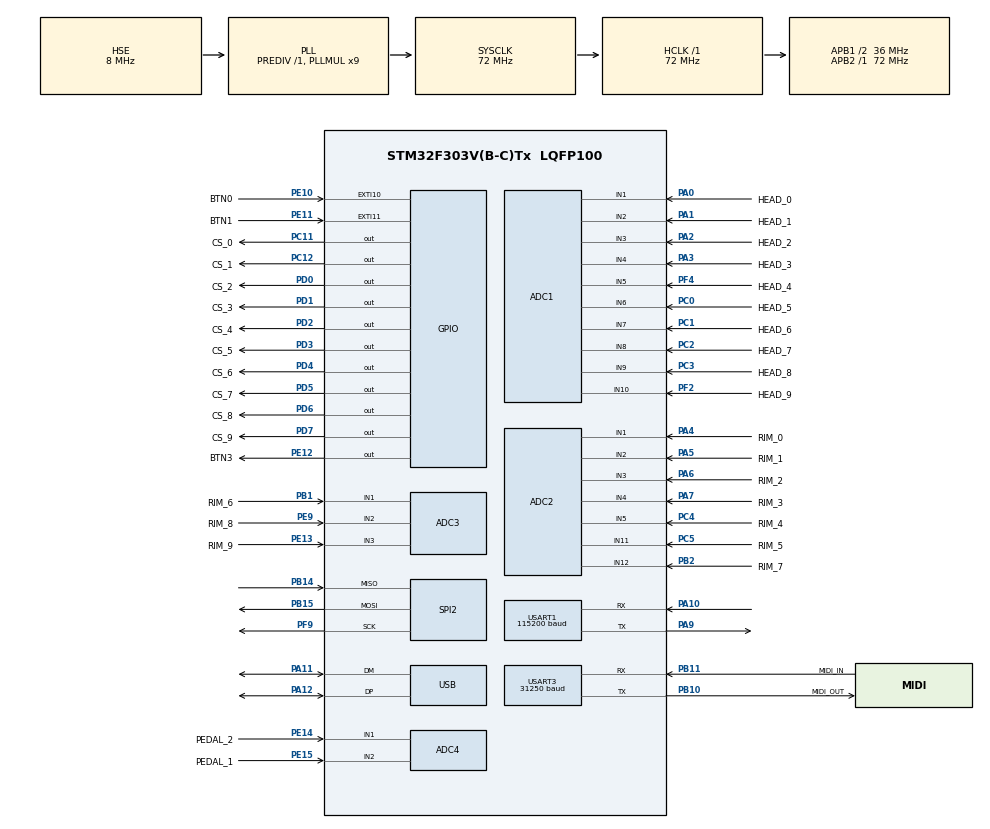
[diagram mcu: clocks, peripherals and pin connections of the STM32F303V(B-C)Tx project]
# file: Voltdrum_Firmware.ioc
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ADC1.Channel=ADC_CHANNEL_9
ADC1.Channel-0\#ChannelRegularConversion=ADC_CHANNEL_1
ADC1.Channel-13\#ChannelRegularConversion=ADC_CHANNEL_2
ADC1.Channel-14\#ChannelRegularConversion=ADC_CHANNEL_3
ADC1.Channel-15\#ChannelRegularConversion=ADC_CHANNEL_4
ADC1.Channel-16\#ChannelRegularConversion=ADC_CHANNEL_5
ADC1.Channel-17\#ChannelRegularConversion=ADC_CHANNEL_6
ADC1.Channel-18\#ChannelRegularConversion=ADC_CHANNEL_7
ADC1.Channel-19\#ChannelRegularConversion=ADC_CHANNEL_8
ADC1.Channel-20\#ChannelRegularConversion=ADC_CHANNEL_9
ADC1.Channel-21\#ChannelRegularConversion=ADC_CHANNEL_10
ADC1.NbrOfConversion=10
ADC1.Rank-13\#ChannelRegularConversion=2
ADC1.Rank-14\#ChannelRegularConversion=3
ADC1.Rank-15\#ChannelRegularConversion=4
ADC1.Rank-16\#ChannelRegularConversion=5
ADC1.Rank-17\#ChannelRegularConversion=6
ADC1.Rank-18\#ChannelRegularConversion=7
ADC1.Rank-19\#ChannelRegularConversion=8
ADC1.Rank-20\#ChannelRegularConversion=9
ADC1.Rank-21\#ChannelRegularConversion=10
ADC1.master=1
ADC2.Channel=ADC_CHANNEL_11
ADC2.Channel-0\#ChannelRegularConversion=ADC_CHANNEL_1
ADC2.Channel-1\#ChannelRegularConversion=ADC_CHANNEL_2
ADC2.Channel-2\#ChannelRegularConversion=ADC_CHANNEL_3
ADC2.Channel-3\#ChannelRegularConversion=ADC_CHANNEL_4
ADC2.Channel-4\#ChannelRegularConversion=ADC_CHANNEL_5
ADC2.Channel-5\#ChannelRegularConversion=ADC_CHANNEL_12
ADC2.Channel-6\#ChannelRegularConversion=ADC_CHANNEL_11
ADC2.NbrOfConversion=7
ADC2.Offset-0\#ChannelRegularConversion=0
ADC2.Offset-1\#ChannelRegularConversion=0
ADC2.Offset-2\#ChannelRegularConversion=0
ADC2.Offset-3\#ChannelRegularConversion=0
ADC2.Offset-4\#ChannelRegularConversion=0
ADC2.Offset-5\#ChannelRegularConversion=0
ADC2.Offset-6\#ChannelRegularConversion=0
ADC2.OffsetNumber-0\#ChannelRegularConversion=ADC_OFFSET_NONE
ADC2.OffsetNumber-1\#ChannelRegularConversion=ADC_OFFSET_NONE
ADC2.OffsetNumber-2\#ChannelRegularConversion=ADC_OFFSET_NONE
ADC2.OffsetNumber-3\#ChannelRegularConversion=ADC_OFFSET_NONE
ADC2.OffsetNumber-4\#ChannelRegularConversion=ADC_OFFSET_NONE
ADC2.OffsetNumber-5\#ChannelRegularConversion=ADC_OFFSET_NONE
ADC2.OffsetNumber-6\#ChannelRegularConversion=ADC_OFFSET_NONE
ADC2.Rank-0\#ChannelRegularConversion=1
ADC2.Rank-1\#ChannelRegularConversion=2
ADC2.Rank-2\#ChannelRegularConversion=3
ADC2.Rank-3\#ChannelRegularConversion=4
ADC2.Rank-4\#ChannelRegularConversion=5
ADC2.Rank-5\#ChannelRegularConversion=6
ADC2.Rank-6\#ChannelRegularConversion=7
ADC2.SamplingTime-0\#ChannelRegularConversion=ADC_SAMPLETIME_1CYCLE_5
ADC2.SamplingTime-1\#ChannelRegularConversion=ADC_SAMPLETIME_1CYCLE_5
ADC2.SamplingTime-2\#ChannelRegularConversion=ADC_SAMPLETIME_1CYCLE_5
ADC2.SamplingTime-3\#ChannelRegularConversion=ADC_SAMPLETIME_1CYCLE_5
ADC2.SamplingTime-4\#ChannelRegularConversion=ADC_SAMPLETIME_1CYCLE_5
ADC2.SamplingTime-5\#ChannelRegularConversion=ADC_SAMPLETIME_1CYCLE_5
ADC2.SamplingTime-6\#ChannelRegularConversion=ADC_SAMPLETIME_1CYCLE_5
ADC3.Channel=ADC_CHANNEL_2
ADC3.Channel-0\#ChannelRegularConversion=ADC_CHANNEL_1
ADC3.Channel-1\#ChannelRegularConversion=ADC_CHANNEL_2
ADC3.Channel-2\#ChannelRegularConversion=ADC_CHANNEL_3
ADC3.NbrOfConversion=3
ADC3.Offset-0\#ChannelRegularConversion=0
ADC3.Offset-1\#ChannelRegularConversion=0
ADC3.Offset-2\#ChannelRegularConversion=0
ADC3.OffsetNumber-0\#ChannelRegularConversion=ADC_OFFSET_NONE
ADC3.OffsetNumber-1\#ChannelRegularConversion=ADC_OFFSET_NONE
ADC3.OffsetNumber-2\#ChannelRegularConversion=ADC_OFFSET_NONE
ADC3.Rank-0\#ChannelRegularConversion=1
ADC3.Rank-1\#ChannelRegularConversion=2
ADC3.Rank-2\#ChannelRegularConversion=3
ADC3.SamplingTime-0\#ChannelRegularConversion=ADC_SAMPLETIME_1CYCLE_5
ADC3.SamplingTime-1\#ChannelRegularConversion=ADC_SAMPLETIME_1CYCLE_5
ADC3.SamplingTime-2\#ChannelRegularConversion=ADC_SAMPLETIME_1CYCLE_5
ADC3.master=1
ADC4.Channel=ADC_CHANNEL_1
ADC4.Channel-0\#ChannelRegularConversion=ADC_CHANNEL_1
ADC4.Channel-1\#ChannelRegularConversion=ADC_CHANNEL_2
ADC4.NbrOfConversion=2
ADC4.Offset-0\#ChannelRegularConversion=0
ADC4.Offset-1\#ChannelRegularConversion=0
ADC4.OffsetNumber-0\#ChannelRegularConversion=ADC_OFFSET_NONE
ADC4.OffsetNumber-1\#ChannelRegularConversion=ADC_OFFSET_NONE
ADC4.Rank-0\#ChannelRegularConversion=1
ADC4.Rank-1\#ChannelRegularConversion=2
ADC4.SamplingTime-0\#ChannelRegularConversion=ADC_SAMPLETIME_1CYCLE_5
ADC4.SamplingTime-1\#ChannelRegularConversion=ADC_SAMPLETIME_1CYCLE_5
Dma.ADC1.3.Direction=DMA_PERIPH_TO_MEMORY
Dma.ADC1.3.Instance=DMA1_Channel1
Dma.ADC1.3.MemDataAlignment=DMA_MDATAALIGN_WORD
Dma.ADC1.3.MemInc=DMA_MINC_ENABLE
Dma.ADC1.3.Mode=DMA_CIRCULAR
Dma.ADC1.3.PeriphDataAlignment=DMA_PDATAALIGN_WORD
Dma.ADC1.3.PeriphInc=DMA_PINC_DISABLE
Dma.ADC1.3.Priority=DMA_PRIORITY_HIGH
Dma.ADC2.0.Direction=DMA_PERIPH_TO_MEMORY
Dma.ADC2.0.Instance=DMA2_Channel1
Dma.ADC2.0.MemDataAlignment=DMA_MDATAALIGN_WORD
Dma.ADC2.0.MemInc=DMA_MINC_ENABLE
Dma.ADC2.0.Mode=DMA_CIRCULAR
Dma.ADC2.0.PeriphDataAlignment=DMA_PDATAALIGN_WORD
Dma.ADC2.0.PeriphInc=DMA_PINC_DISABLE
Dma.ADC2.0.Priority=DMA_PRIORITY_HIGH
Dma.ADC3.1.Direction=DMA_PERIPH_TO_MEMORY
Dma.ADC3.1.Instance=DMA2_Channel5
Dma.ADC3.1.MemDataAlignment=DMA_MDATAALIGN_WORD
Dma.ADC3.1.MemInc=DMA_MINC_ENABLE
Dma.ADC3.1.Mode=DMA_CIRCULAR
Dma.ADC3.1.PeriphDataAlignment=DMA_PDATAALIGN_WORD
Dma.ADC3.1.PeriphInc=DMA_PINC_DISABLE
Dma.ADC3.1.Priority=DMA_PRIORITY_HIGH
Dma.ADC4.2.Direction=DMA_PERIPH_TO_MEMORY
Dma.ADC4.2.Instance=DMA2_Channel2
Dma.ADC4.2.MemDataAlignment=DMA_MDATAALIGN_WORD
Dma.ADC4.2.MemInc=DMA_MINC_ENABLE
Dma.ADC4.2.Mode=DMA_CIRCULAR
Dma.ADC4.2.PeriphDataAlignment=DMA_PDATAALIGN_WORD
Dma.ADC4.2.PeriphInc=DMA_PINC_DISABLE
Dma.ADC4.2.Priority=DMA_PRIORITY_MEDIUM
Dma.Request0=ADC2
Dma.Request1=ADC3
Dma.Request2=ADC4
Dma.Request3=ADC1
Mcu.Family=STM32F3
Mcu.Name=STM32F303V(B-C)Tx
Mcu.Package=LQFP100
NVIC.EXTI15_10_IRQn=true\:4\:0\:true
NVIC.PriorityGroup=NVIC_PRIORITYGROUP_4
NVIC.TIM1_UP_TIM16_IRQn=true\:1\:0\:true
NVIC.TIM2_IRQn=true\:2\:0\:true
NVIC.TIM3_IRQn=true\:4\:0\:true
NVIC.USART1_IRQn=true\:4\:0\:true
NVIC.USART3_IRQn=true\:3\:0\:true
NVIC.USB_LP_CAN_RX0_IRQn=true\:4\:0\:true
PA0.GPIO_Label=HEAD_0
PA0.GPIO_Mode=GPIO_MODE_ANALOG
PA0.GPIO_PuPd=GPIO_NOPULL
PA0.Mode=IN1-Single-Ended
PA0.Signal=ADC1_IN1
PA1.GPIO_Label=HEAD_1
PA1.GPIO_Mode=GPIO_MODE_ANALOG
PA1.GPIO_PuPd=GPIO_NOPULL
PA1.Mode=IN2-Single-Ended
PA1.Signal=ADC1_IN2
PA10.Mode=Asynchronous
PA10.Signal=USART1_RX
PA11.Mode=Device
PA11.Signal=USB_DM
PA12.Mode=Device
PA12.Signal=USB_DP
PA13.Mode=JTAG(5-pin)
PA13.Signal=SYS_JTMS-SWDIO
PA14.Mode=JTAG(5-pin)
PA14.Signal=SYS_JTCK-SWCLK
PA15.Mode=JTAG(5-pin)
PA15.Signal=SYS_JTDI
PA2.GPIO_Label=HEAD_2
PA2.GPIO_Mode=GPIO_MODE_ANALOG
PA2.GPIO_PuPd=GPIO_NOPULL
PA2.Mode=IN3-Single-Ended
PA2.Signal=ADC1_IN3
PA3.GPIO_Label=HEAD_3
PA3.GPIO_Mode=GPIO_MODE_ANALOG
PA3.GPIO_PuPd=GPIO_NOPULL
PA3.Mode=IN4-Single-Ended
PA3.Signal=ADC1_IN4
PA4.GPIO_Label=RIM_0
PA4.GPIO_Mode=GPIO_MODE_ANALOG
PA4.GPIO_PuPd=GPIO_NOPULL
PA4.Mode=IN1-Single-Ended
PA4.Signal=ADC2_IN1
PA5.GPIO_Label=RIM_1
PA5.GPIO_Mode=GPIO_MODE_ANALOG
PA5.GPIO_PuPd=GPIO_NOPULL
PA5.Mode=IN2-Single-Ended
PA5.Signal=ADC2_IN2
PA6.GPIO_Label=RIM_2
PA6.GPIO_Mode=GPIO_MODE_ANALOG
PA6.GPIO_PuPd=GPIO_NOPULL
PA6.Mode=IN3-Single-Ended
PA6.Signal=ADC2_IN3
PA7.GPIO_Label=RIM_3
PA7.GPIO_Mode=GPIO_MODE_ANALOG
PA7.GPIO_PuPd=GPIO_NOPULL
PA7.Mode=IN4-Single-Ended
PA7.Signal=ADC2_IN4
PA9.Mode=Asynchronous
PA9.Signal=USART1_TX
PB1.GPIO_Label=RIM_6
PB1.GPIO_Mode=GPIO_MODE_ANALOG
PB1.GPIO_PuPd=GPIO_NOPULL
PB1.Mode=IN1-Single-Ended
PB1.Signal=ADC3_IN1
PB10.GPIO_Label=MIDI_OUT
PB10.GPIO_Mode=GPIO_MODE_AF_PP
PB10.GPIO_PuPd=GPIO_PULLUP
PB10.GPIO_Speed=GPIO_SPEED_LOW
PB10.Mode=Asynchronous
PB10.Signal=USART3_TX
PB11.GPIO_Label=MIDI_IN
PB11.GPIO_Mode=GPIO_MODE_AF_PP
PB11.GPIO_PuPd=GPIO_PULLUP
PB11.GPIO_Speed=GPIO_SPEED_LOW
PB11.Mode=Asynchronous
PB11.Signal=USART3_RX
PB14.Mode=Full_Duplex_Master
PB14.Signal=SPI2_MISO
PB15.Mode=Full_Duplex_Master
PB15.Signal=SPI2_MOSI
PB2.GPIO_Label=RIM_7
PB2.GPIO_Mode=GPIO_MODE_ANALOG
PB2.GPIO_PuPd=GPIO_NOPULL
PB2.Mode=IN12-Single-Ended
PB2.Signal=ADC2_IN12
PB3.Mode=JTAG(5-pin)
PB3.Signal=SYS_JTDO-TRACESWO
PB4.Mode=JTAG(5-pin)
PB4.Signal=SYS_NJTRST
PC0.GPIO_Label=HEAD_5
PC0.GPIO_Mode=GPIO_MODE_ANALOG
PC0.GPIO_PuPd=GPIO_NOPULL
PC0.Signal=ADCx_IN6
PC1.GPIO_Label=HEAD_6
PC1.GPIO_Mode=GPIO_MODE_ANALOG
PC1.GPIO_PuPd=GPIO_NOPULL
PC1.Signal=ADCx_IN7
PC11.GPIO_Label=CS_0
PC11.GPIO_ModeDefaultOutputPP=GPIO_MODE_OUTPUT_PP
PC11.GPIO_PuPd=GPIO_NOPULL
PC11.GPIO_Speed=GPIO_SPEED_LOW
PC11.Signal=GPIO_Output
PC12.GPIO_Label=CS_1
PC12.GPIO_ModeDefaultOutputPP=GPIO_MODE_OUTPUT_PP
PC12.GPIO_PuPd=GPIO_NOPULL
PC12.GPIO_Speed=GPIO_SPEED_LOW
PC12.Signal=GPIO_Output
PC14-OSC32_IN.Mode=LSE-External-Oscillator
PC14-OSC32_IN.Signal=RCC_OSC32_IN
PC15-OSC32_OUT.Mode=LSE-External-Oscillator
PC15-OSC32_OUT.Signal=RCC_OSC32_OUT
PC2.GPIO_Label=HEAD_7
PC2.GPIO_Mode=GPIO_MODE_ANALOG
PC2.GPIO_PuPd=GPIO_NOPULL
PC2.Signal=ADCx_IN8
PC3.GPIO_Label=HEAD_8
PC3.GPIO_Mode=GPIO_MODE_ANALOG
PC3.GPIO_PuPd=GPIO_NOPULL
PC3.Signal=ADCx_IN9
PC4.GPIO_Label=RIM_4
PC4.GPIO_Mode=GPIO_MODE_ANALOG
PC4.GPIO_PuPd=GPIO_NOPULL
PC4.Mode=IN5-Single-Ended
PC4.Signal=ADC2_IN5
PC5.GPIO_Label=RIM_5
PC5.GPIO_Mode=GPIO_MODE_ANALOG
PC5.GPIO_PuPd=GPIO_NOPULL
PC5.Mode=IN11-Single-Ended
PC5.Signal=ADC2_IN11
PD0.GPIO_Label=CS_2
PD0.GPIO_ModeDefaultOutputPP=GPIO_MODE_OUTPUT_PP
PD0.GPIO_PuPd=GPIO_NOPULL
PD0.GPIO_Speed=GPIO_SPEED_LOW
PD0.Signal=GPIO_Output
PD1.GPIO_Label=CS_3
PD1.GPIO_ModeDefaultOutputPP=GPIO_MODE_OUTPUT_PP
PD1.GPIO_PuPd=GPIO_NOPULL
PD1.GPIO_Speed=GPIO_SPEED_LOW
PD1.Signal=GPIO_Output
PD2.GPIO_Label=CS_4
PD2.GPIO_ModeDefaultOutputPP=GPIO_MODE_OUTPUT_PP
PD2.GPIO_PuPd=GPIO_NOPULL
PD2.GPIO_Speed=GPIO_SPEED_LOW
PD2.Signal=GPIO_Output
PD3.GPIO_Label=CS_5
PD3.GPIO_ModeDefaultOutputPP=GPIO_MODE_OUTPUT_PP
PD3.GPIO_PuPd=GPIO_NOPULL
PD3.GPIO_Speed=GPIO_SPEED_LOW
PD3.Signal=GPIO_Output
PD4.GPIO_Label=CS_6
PD4.GPIO_ModeDefaultOutputPP=GPIO_MODE_OUTPUT_PP
PD4.GPIO_PuPd=GPIO_NOPULL
PD4.GPIO_Speed=GPIO_SPEED_LOW
PD4.Signal=GPIO_Output
PD5.GPIO_Label=CS_7
PD5.GPIO_ModeDefaultOutputPP=GPIO_MODE_OUTPUT_PP
PD5.GPIO_PuPd=GPIO_NOPULL
PD5.GPIO_Speed=GPIO_SPEED_LOW
PD5.Signal=GPIO_Output
PD6.GPIO_Label=CS_8
PD6.GPIO_ModeDefaultOutputPP=GPIO_MODE_OUTPUT_PP
PD6.GPIO_PuPd=GPIO_NOPULL
PD6.GPIO_Speed=GPIO_SPEED_LOW
PD6.Signal=GPIO_Output
PD7.GPIO_Label=CS_9
PD7.GPIO_ModeDefaultOutputPP=GPIO_MODE_OUTPUT_PP
PD7.GPIO_PuPd=GPIO_NOPULL
PD7.GPIO_Speed=GPIO_SPEED_LOW
PD7.Signal=GPIO_Output
PE10.GPIO_Label=BTN0
PE10.GPIO_ModeDefaultEXTI=GPIO_MODE_IT_RISING
PE10.GPIO_PuPd=GPIO_NOPULL
PE10.Signal=GPXTI10
PE11.GPIO_Label=BTN1
PE11.GPIO_ModeDefaultEXTI=GPIO_MODE_IT_RISING
PE11.GPIO_PuPd=GPIO_NOPULL
PE11.Signal=GPXTI11
PE12.GPIO_Label=BTN3
PE12.Signal=GPIO_Output
PE13.GPIO_Label=RIM_9
PE13.GPIO_Mode=GPIO_MODE_ANALOG
PE13.GPIO_PuPd=GPIO_NOPULL
PE13.Mode=IN3-Single-Ended
PE13.Signal=ADC3_IN3
PE14.GPIO_Label=PEDAL_2
PE14.GPIO_Mode=GPIO_MODE_ANALOG
PE14.GPIO_PuPd=GPIO_NOPULL
PE14.Mode=IN1-Single-Ended
PE14.Signal=ADC4_IN1
PE15.GPIO_Label=PEDAL_1
PE15.GPIO_Mode=GPIO_MODE_ANALOG
PE15.GPIO_PuPd=GPIO_NOPULL
PE15.Mode=IN2-Single-Ended
PE15.Signal=ADC4_IN2
PE9.GPIO_Label=RIM_8
PE9.GPIO_Mode=GPIO_MODE_ANALOG
PE9.GPIO_PuPd=GPIO_NOPULL
PE9.Mode=IN2-Single-Ended
PE9.Signal=ADC3_IN2
PF0-OSC_IN.Mode=HSE-External-Oscillator
PF0-OSC_IN.Signal=RCC_OSC_IN
PF1-OSC_OUT.Mode=HSE-External-Oscillator
PF1-OSC_OUT.Signal=RCC_OSC_OUT
PF2.GPIO_Label=HEAD_9
PF2.GPIO_Mode=GPIO_MODE_ANALOG
PF2.GPIO_PuPd=GPIO_NOPULL
PF2.Signal=ADCx_IN10
PF4.GPIO_Label=HEAD_4
PF4.GPIO_Mode=GPIO_MODE_ANALOG
PF4.GPIO_PuPd=GPIO_NOPULL
PF4.Mode=IN5-Single-Ended
PF4.Signal=ADC1_IN5
PF9.Mode=Full_Duplex_Master
PF9.Signal=SPI2_SCK
ProjectManager.TargetToolchain=TrueSTUDIO 4.3.1
RCC.AHBFreq_Value=72000000
RCC.APB1CLKDivider=RCC_HCLK_DIV2
RCC.APB1Freq_Value=36000000
RCC.APB1TimFreq_Value=72000000
RCC.APB2Freq_Value=72000000
RCC.APB2TimFreq_Value=72000000
RCC.CortexFreq_Value=9000000
RCC.EnbaleCSS=true
RCC.HCLKFreq_Value=72000000
RCC.HSE_VALUE=8000000
RCC.HSIState=RCC_HSI_ON
RCC.HSI_VALUE=8000000
RCC.PLLMUL=RCC_PLL_MUL9
RCC.PRESCALERUSB=RCC_USBPLLCLK_DIV1_5
RCC.SYSCLKFreq_VALUE=72000000
RCC.SYSCLKSourceVirtual=RCC_SYSCLKSOURCE_PLLCLK
RCC.USBFreq_Value=48000000
SH.ADCx_IN10.0=ADC1_IN10,IN10-Single-Ended
SH.ADCx_IN6.0=ADC1_IN6,IN6-Single-Ended
SH.ADCx_IN7.0=ADC1_IN7,IN7-Single-Ended
SH.ADCx_IN8.0=ADC1_IN8,IN8-Single-Ended
SH.ADCx_IN9.0=ADC1_IN9,IN9-Single-Ended
SPI2.BaudRatePrescaler-Full_Duplex_Master=SPI_BAUDRATEPRESCALER_32
SPI2.CalculateBaudRate-Full_Duplex_Master=1.125 MBits/s
SPI2.DataSize-Full_Duplex_Master=SPI_DATASIZE_16BIT
SPI2.Mode-Full_Duplex_Master=SPI_MODE_MASTER
TIM1.Period=1
TIM1.Prescaler=3600
TIM2.Period=5
TIM2.Prescaler=14400
TIM3.Period=50
TIM3.Prescaler=14400
USART1.BaudRate=115200
USART3.BaudRate=31250
USART3.DataInvertParam-Asynchronous=UART_ADVFEATURE_DATAINV_DISABLE
USART3.RxPinLevelInvertParam-Asynchronous=UART_ADVFEATURE_RXINV_DISABLE
USART3.TxPinLevelInvertParam-Asynchronous=UART_ADVFEATURE_TXINV_DISABLE
USB_DEVICE.CLASS_NAME-AUDIO_FS=AUDIO
USB_DEVICE.USBD_HandleTypeDef-AUDIO_FS=hUsbDeviceFS
USB_DEVICE.VirtualMode-AUDIO_FS=Audio
VP_TIM1_VS_ClockSourceINT.Mode=Internal
VP_TIM2_VS_ClockSourceINT.Mode=Internal
VP_TIM3_VS_ClockSourceINT.Mode=Internal
VP_USB_DEVICE_VS_USB_DEVICE_AUDIO_FS.Mode=AUDIO_FS

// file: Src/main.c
/**
  ******************************************************************************
  * File Name          : main.c
  * Date               : 26/05/2015 10:05:21
  * Description        : Main program body
  ******************************************************************************
  *
  * COPYRIGHT(c) 2015 STMicroelectronics
  *
  * Redistribution and use in source and binary forms, with or without modification,
  * are permitted provided that the following conditions are met:
  *   1. Redistributions of source code must retain the above copyright notice,
  *      this list of conditions and the following disclaimer.
  *   2. Redistributions in binary form must reproduce the above copyright notice,
  *      this list of conditions and the following disclaimer in the documentation
  *      and/or other materials provided with the distribution.
  *   3. Neither the name of STMicroelectronics nor the names of its contributors
  *      may be used to endorse or promote products derived from this software
  *      without specific prior written permission.
  *
  * THIS SOFTWARE IS PROVIDED BY THE COPYRIGHT HOLDERS AND CONTRIBUTORS "AS IS"
  * AND ANY EXPRESS OR IMPLIED WARRANTIES, INCLUDING, BUT NOT LIMITED TO, THE
  * IMPLIED WARRANTIES OF MERCHANTABILITY AND FITNESS FOR A PARTICULAR PURPOSE ARE
  * DISCLAIMED. IN NO EVENT SHALL THE COPYRIGHT HOLDER OR CONTRIBUTORS BE LIABLE
  * FOR ANY DIRECT, INDIRECT, INCIDENTAL, SPECIAL, EXEMPLARY, OR CONSEQUENTIAL
  * DAMAGES (INCLUDING, BUT NOT LIMITED TO, PROCUREMENT OF SUBSTITUTE GOODS OR
  * SERVICES; LOSS OF USE, DATA, OR PROFITS; OR BUSINESS INTERRUPTION) HOWEVER
  * CAUSED AND ON ANY THEORY OF LIABILITY, WHETHER IN CONTRACT, STRICT LIABILITY,
  * OR TORT (INCLUDING NEGLIGENCE OR OTHERWISE) ARISING IN ANY WAY OUT OF THE USE
  * OF THIS SOFTWARE, EVEN IF ADVISED OF THE POSSIBILITY OF SUCH DAMAGE.
  *
  ******************************************************************************
  */

#include "stm32f3xx_hal.h"
#include "adc.h"
#include "dma.h"
#include "spi.h"
#include "tim.h"
#include "usart.h"
#include "usb_device.h"
#include "gpio.h"

/* USER CODE BEGIN Includes */
#include "uartmessagebuffer.h"
#include "midi.h"
#include "voltdrum_interface.h"
#include "mcp4251.h"
#include "triggerchannel.h"
#include "hihatchannel.h"
#include "performance.h"
/* USER CODE END Includes */

/* USER CODE BEGIN PV */

#define headChannelCount 10
#define rimChannelCount 10
#define hihatChannelCount 2

volatile int irqflag_timer1 = 0;
volatile int irqflag_timer2 = 0;
volatile int irqflag_timer3 = 0;
volatile int irqflag_btns[3] = {0,0,0};

volatile uint32_t adc1Samples[10*4];
volatile uint32_t adc2Samples[7*4];
volatile uint32_t adc3Samples[3*4];
volatile uint32_t adc4Samples[2];

TriggerChannel triggerChannelsHead[headChannelCount];
TriggerChannel triggerChannelsRim[rimChannelCount];
HiHatChannel hiHatChannels[hihatChannelCount];

/* USER CODE END PV */

void SystemClock_Config(void);

/* USER CODE BEGIN 0 */

void initHeadChannels(){

	int i;
	for(i = 0; i < headChannelCount; i++){
		triggerChannelsHead[i].potiWiperId = MCP4261_WIPER0;
		triggerchannel_init(&triggerChannelsHead[i], &(adc1Samples[i]), &(adc1Samples[i+10]), &(adc1Samples[i+20]), &(adc1Samples[i+30]));

	}

	//Base drum
	triggerChannelsHead[0].potiCsPort = GPIOC;
	triggerChannelsHead[0].potiCsPin = GPIO_PIN_11;
	triggerChannelsHead[0].midinote = 36;
	triggerChannelsHead[0].voltdrumChannel = 0;
	triggerchannel_setWiper(&triggerChannelsHead[0], 20);
	triggerChannelsHead[0].threshhold_static = 130;
	triggerChannelsHead[0].threshhold_dynamic = 0.9;
	triggerChannelsHead[0].samples_to_take = 5;
	triggerChannelsHead[0].time_offset = 150;

	//Snare
	triggerChannelsHead[1].potiCsPort = GPIOC;
	triggerChannelsHead[1].potiCsPin = GPIO_PIN_12;
	triggerChannelsHead[1].midinote = 38;
	triggerChannelsHead[1].voltdrumChannel = 2;
	triggerchannel_setWiper(&triggerChannelsHead[1], 20);
	triggerChannelsHead[1].threshhold_static = 50;
	triggerChannelsHead[1].threshhold_dynamic = 0.9;
	triggerChannelsHead[1].samples_to_take = 5;
	triggerChannelsHead[1].time_offset = 100;

	//tom 1 - UNTEN
	triggerChannelsHead[2].potiCsPort = GPIOD;
	triggerChannelsHead[2].potiCsPin = GPIO_PIN_0;
	triggerChannelsHead[2].midinote = 43;
	triggerChannelsHead[2].voltdrumChannel = 4;
	triggerchannel_setWiper(&triggerChannelsHead[2], 3);
	triggerChannelsHead[2].threshhold_static = 80;
	triggerChannelsHead[2].threshhold_dynamic = 0.8;
	triggerChannelsHead[2].samples_to_take = 5;
	triggerChannelsHead[2].time_offset = 100;

	//tom2 - OBEN
	triggerChannelsHead[3].potiCsPort = GPIOD;
	triggerChannelsHead[3].potiCsPin = GPIO_PIN_1;
	triggerChannelsHead[3].midinote = 47;
	triggerChannelsHead[3].voltdrumChannel = 6;
	triggerchannel_setWiper(&triggerChannelsHead[3], 3);
	triggerChannelsHead[3].threshhold_static = 120;
	triggerChannelsHead[3].threshhold_dynamic = 0.8;
	triggerChannelsHead[3].samples_to_take = 5;
	triggerChannelsHead[3].time_offset = 100;

	//hihat
	triggerChannelsHead[4].potiCsPort = GPIOD;
	triggerChannelsHead[4].potiCsPin = GPIO_PIN_2;
	triggerChannelsHead[4].midinote = 46;
	triggerChannelsHead[4].voltdrumChannel = 8;
	triggerchannel_setWiper(&triggerChannelsHead[4], 7);
	triggerChannelsHead[4].threshhold_static = 100;
	triggerChannelsHead[4].threshhold_dynamic = 1;
	triggerChannelsHead[4].samples_to_take = 5;
	triggerChannelsHead[4].time_offset = 100;

	triggerChannelsHead[5].potiCsPort = GPIOD;
	triggerChannelsHead[5].potiCsPin = GPIO_PIN_3;
	triggerChannelsHead[5].midinote = 38;
	triggerChannelsHead[5].voltdrumChannel = 10;

	triggerChannelsHead[6].potiCsPort = GPIOD;
	triggerChannelsHead[6].potiCsPin = GPIO_PIN_4;
	triggerChannelsHead[6].midinote = 38;
	triggerChannelsHead[6].voltdrumChannel = 12;

	triggerChannelsHead[7].potiCsPort = GPIOD;
	triggerChannelsHead[7].potiCsPin = GPIO_PIN_5;
	triggerChannelsHead[7].midinote = 38;
	triggerChannelsHead[7].voltdrumChannel = 14;

	triggerChannelsHead[8].potiCsPort = GPIOD;
	triggerChannelsHead[8].potiCsPin = GPIO_PIN_6;
	triggerChannelsHead[8].midinote = 38;
	triggerChannelsHead[8].voltdrumChannel = 16;

	triggerChannelsHead[9].potiCsPort = GPIOD;
	triggerChannelsHead[9].potiCsPin = GPIO_PIN_7;
	triggerChannelsHead[9].midinote = 38;
	triggerChannelsHead[9].voltdrumChannel = 18;

	for(i = 0; i < headChannelCount; i++){
		HAL_GPIO_WritePin(triggerChannelsHead[i].potiCsPort,triggerChannelsHead[i].potiCsPin,GPIO_PIN_SET);
	}

	HAL_Delay(10);

	//set initial wiper positions
	triggerchannel_setWiper(&triggerChannelsHead[5], 30);
	triggerchannel_setWiper(&triggerChannelsHead[6], 30);
	triggerchannel_setWiper(&triggerChannelsHead[7], 30);
	triggerchannel_setWiper(&triggerChannelsHead[8], 30);
	triggerchannel_setWiper(&triggerChannelsHead[9], 30);

}

void initRimChannels(){

	int i;
	for(i = 0; i < headChannelCount; i++){
		triggerChannelsRim[i].potiWiperId = MCP4261_WIPER1;
		if(i < 7) triggerchannel_init(&triggerChannelsRim[i], &(adc2Samples[i]),&(adc2Samples[i+7]),&(adc2Samples[i+14]),&(adc2Samples[i+21]));
		else triggerchannel_init(&triggerChannelsRim[i], &(adc3Samples[i-7]),&(adc3Samples[i-7+3]),&(adc3Samples[i-7+6]),&(adc3Samples[i-7+9]));
	}

	triggerChannelsRim[0].potiCsPort = GPIOC;
	triggerChannelsRim[0].potiCsPin = GPIO_PIN_11;
	triggerChannelsRim[0].midinote = 36;
	triggerChannelsRim[0].voltdrumChannel = 1;

	triggerChannelsRim[1].potiCsPort = GPIOC;
	triggerChannelsRim[1].potiCsPin = GPIO_PIN_12;
	triggerChannelsRim[1].midinote = 38;
	triggerChannelsRim[1].voltdrumChannel = 3;

	triggerChannelsRim[2].potiCsPort = GPIOD;
	triggerChannelsRim[2].potiCsPin = GPIO_PIN_0;
	triggerChannelsRim[2].midinote = 38;
	triggerChannelsRim[2].voltdrumChannel = 5;

	triggerChannelsRim[3].potiCsPort = GPIOD;
	triggerChannelsRim[3].potiCsPin = GPIO_PIN_1;
	triggerChannelsRim[3].midinote = 38;
	triggerChannelsRim[3].voltdrumChannel = 7;

	triggerChannelsRim[4].potiCsPort = GPIOD;
	triggerChannelsRim[4].potiCsPin = GPIO_PIN_2;
	triggerChannelsRim[4].midinote = 38;
	triggerChannelsRim[4].voltdrumChannel = 9;

	triggerChannelsRim[5].potiCsPort = GPIOD;
	triggerChannelsRim[5].potiCsPin = GPIO_PIN_3;
	triggerChannelsRim[5].midinote = 38;
	triggerChannelsRim[5].voltdrumChannel = 11;

	triggerChannelsRim[6].potiCsPort = GPIOD;
	triggerChannelsRim[6].potiCsPin = GPIO_PIN_4;
	triggerChannelsRim[6].midinote = 38;
	triggerChannelsRim[6].voltdrumChannel = 13;

	triggerChannelsRim[7].potiCsPort = GPIOD;
	triggerChannelsRim[7].potiCsPin = GPIO_PIN_5;
	triggerChannelsRim[7].midinote = 38;
	triggerChannelsRim[7].voltdrumChannel = 15;

	triggerChannelsRim[8].potiCsPort = GPIOD;
	triggerChannelsRim[8].potiCsPin = GPIO_PIN_6;
	triggerChannelsRim[8].midinote = 38;
	triggerChannelsRim[8].voltdrumChannel = 17;

	triggerChannelsRim[9].potiCsPort = GPIOD;
	triggerChannelsRim[9].potiCsPin = GPIO_PIN_7;
	triggerChannelsRim[9].midinote = 38;
	triggerChannelsRim[9].voltdrumChannel = 19;

	for(i = 0; i < rimChannelCount; i++){

		HAL_GPIO_WritePin(triggerChannelsRim[i].potiCsPort,triggerChannelsRim[i].potiCsPin,GPIO_PIN_SET);

	}

	HAL_Delay(10);

	triggerchannel_setWiper(&triggerChannelsRim[0], 50);
	triggerchannel_setWiper(&triggerChannelsRim[1], 50);
	triggerchannel_setWiper(&triggerChannelsRim[2], 50);
	triggerchannel_setWiper(&triggerChannelsRim[3], 50);
	triggerchannel_setWiper(&triggerChannelsRim[4], 50);
	triggerchannel_setWiper(&triggerChannelsRim[5], 50);
	triggerchannel_setWiper(&triggerChannelsRim[6], 50);
	triggerchannel_setWiper(&triggerChannelsRim[7], 50);
	triggerchannel_setWiper(&triggerChannelsRim[8], 50);
	triggerchannel_setWiper(&triggerChannelsRim[9], 50);

}

void initHiHatChannels(){

		hihatchannel_init(&hiHatChannels[0], &adc4Samples[0], &triggerChannelsHead[4]);
		hiHatChannels[0].voltdrumChannel = 0;
		hiHatChannels[0].midi_note_open = 46;
		hiHatChannels[0].midi_note_closed = 42;
		hiHatChannels[0].midi_pedal_note = 44;
		hiHatChannels[0].midi_control = 0x04;
		hiHatChannels[0].relatedTriggerpad = &triggerChannelsHead[4];

		hihatchannel_init(&hiHatChannels[1], &adc4Samples[1], &triggerChannelsRim [9]);
		hiHatChannels[1].voltdrumChannel = 1;

}

volatile int btnDebounceIRQTimer[3] = {0,0,0};

void HAL_GPIO_EXTI_Callback (uint16_t GPIO_Pin){
	if(GPIO_Pin == GPIO_PIN_10) btnDebounceIRQTimer[0] = 1;	// Btn 0 clicked
	if(GPIO_Pin == GPIO_PIN_11) btnDebounceIRQTimer[1] = 1;	// Btn 1 clicked
	if(GPIO_Pin == GPIO_PIN_12) btnDebounceIRQTimer[2] = 1;	// Btn 2 clicked
}

void HAL_UART_TxCpltCallback (UART_HandleTypeDef *huart){
	if(midiMessagebuffer != 0 && midiMessagebuffer->uarthandle == huart) uartmessagebuffer_onTxComplete(midiMessagebuffer);
	else if(voltdrumMessagebuffer != 0 && voltdrumMessagebuffer->uarthandle == huart) uartmessagebuffer_onTxComplete(voltdrumMessagebuffer);
}
void HAL_UART_ErrorCallback (UART_HandleTypeDef *huart){
	if(midiMessagebuffer != 0 && midiMessagebuffer->uarthandle == huart) uartmessagebuffer_onTxComplete(midiMessagebuffer);
	else if(voltdrumMessagebuffer != 0 && voltdrumMessagebuffer->uarthandle == huart) uartmessagebuffer_onTxComplete(voltdrumMessagebuffer);
}

/*
 * Triggered every 200us
 *
 * Processing triggerchannel samples taken
 */
void onTimer1Triggered(){
	int i;
	//triggerchannel_process(&triggerChannelsHead[0]);

	for(i = 0; i < headChannelCount; ++i){
		triggerchannel_process(&triggerChannelsHead[i]);
	}

	for(i = 0; i < rimChannelCount; ++i){
		triggerchannel_process(&triggerChannelsRim[i]);
	}

}
/*
 * Triggered every 1ms
 *
 * processing hihat-samples taken
 */
void onTimer2Triggered(){
	int i;

	for(i = 0; i < hihatChannelCount; ++i){
		hihatchannel_process(&hiHatChannels[i]);
	}

}

/*
 * Triggered on btn0 click with debounce delay
 */
void onBtn0Triggered(){
	midi_sendNote(10,36,120);
}

/*
 * Triggered on btn1 click with debounce delay
 */
void onBtn1Triggered(){

		triggerChannelsHead[0].midinote = 38;

}

/*
 * Triggered on btn2 click with debounce delay
 */
void onBtn2Triggered(){

}

/* USER CODE END 0 */

int main(void)
{

  /* MCU Configuration----------------------------------------------------------*/

  /* Reset of all peripherals, Initializes the Flash interface and the Systick. */
  HAL_Init();

  /* Configure the system clock */
  SystemClock_Config();

  /* Initialize all configured peripherals */
  MX_GPIO_Init();
  MX_DMA_Init();
  MX_ADC1_Init();
  MX_ADC2_Init();
  MX_ADC3_Init();
  MX_ADC4_Init();
  MX_SPI2_Init();
  MX_TIM1_Init();
  MX_TIM2_Init();
  MX_TIM3_Init();
  MX_USART1_UART_Init();
  MX_USART3_UART_Init();
  MX_USB_DEVICE_Init();

  /* USER CODE BEGIN 2 */

  //initializes the datastructure and amplifiing of the triggerchannels
  midi_init();
  voltdrum_init();
  initHeadChannels();
  initRimChannels();
  initHiHatChannels();

  HAL_TIM_Base_Start_IT(&htim1);
  HAL_TIM_Base_Start_IT(&htim2);
  HAL_TIM_Base_Start_IT(&htim3);
  /* USER CODE END 2 */

  /* USER CODE BEGIN 3 */
  /* Infinite loop */
  while (1)
  {

	  if(irqflag_timer1){
			irqflag_timer1 = 0;
			onTimer1Triggered();
	  } else if(irqflag_timer2){
		  irqflag_timer2 = 0;
		  onTimer2Triggered();
	  } else if(irqflag_btns[0]){
		  irqflag_btns[0] = 0;
		  onBtn0Triggered();
	  } else if(irqflag_btns[1]){
		  irqflag_btns[1] = 0;
		  onBtn1Triggered();
	  } else if(irqflag_btns[2]){
		  irqflag_btns[2] = 0;
		  onBtn2Triggered();
	  }

  }
  /* USER CODE END 3 */

}

/** System Clock Configuration
*/
void SystemClock_Config(void)
{

  RCC_OscInitTypeDef RCC_OscInitStruct;
  RCC_ClkInitTypeDef RCC_ClkInitStruct;
  RCC_PeriphCLKInitTypeDef PeriphClkInit;

  RCC_OscInitStruct.OscillatorType = RCC_OSCILLATORTYPE_HSE;
  RCC_OscInitStruct.HSEState = RCC_HSE_ON;
  RCC_OscInitStruct.HSEPredivValue = RCC_HSE_PREDIV_DIV1;
  RCC_OscInitStruct.PLL.PLLState = RCC_PLL_ON;
  RCC_OscInitStruct.PLL.PLLSource = RCC_PLLSOURCE_HSE;
  RCC_OscInitStruct.PLL.PLLMUL = RCC_PLL_MUL9;
  HAL_RCC_OscConfig(&RCC_OscInitStruct);

  RCC_ClkInitStruct.ClockType = RCC_CLOCKTYPE_SYSCLK|RCC_CLOCKTYPE_PCLK1;
  RCC_ClkInitStruct.SYSCLKSource = RCC_SYSCLKSOURCE_PLLCLK;
  RCC_ClkInitStruct.AHBCLKDivider = RCC_SYSCLK_DIV1;
  RCC_ClkInitStruct.APB1CLKDivider = RCC_HCLK_DIV2;
  RCC_ClkInitStruct.APB2CLKDivider = RCC_HCLK_DIV1;
  HAL_RCC_ClockConfig(&RCC_ClkInitStruct, FLASH_LATENCY_2);

  PeriphClkInit.PeriphClockSelection = RCC_PERIPHCLK_USB|RCC_PERIPHCLK_USART1
                              |RCC_PERIPHCLK_USART3|RCC_PERIPHCLK_TIM1
                              |RCC_PERIPHCLK_ADC12|RCC_PERIPHCLK_ADC34;
  PeriphClkInit.Usart1ClockSelection = RCC_USART1CLKSOURCE_PCLK2;
  PeriphClkInit.Usart3ClockSelection = RCC_USART3CLKSOURCE_PCLK1;
  PeriphClkInit.Adc12ClockSelection = RCC_ADC12PLLCLK_DIV1;
  PeriphClkInit.Adc34ClockSelection = RCC_ADC34PLLCLK_DIV1;
  PeriphClkInit.USBClockSelection = RCC_USBPLLCLK_DIV1_5;
  PeriphClkInit.Tim1ClockSelection = RCC_TIM1CLK_HCLK;
  HAL_RCCEx_PeriphCLKConfig(&PeriphClkInit);

  HAL_RCC_EnableCSS();

  __SYSCFG_CLK_ENABLE();

}

/************************ (C) COPYRIGHT STMicroelectronics *****END OF FILE****/
